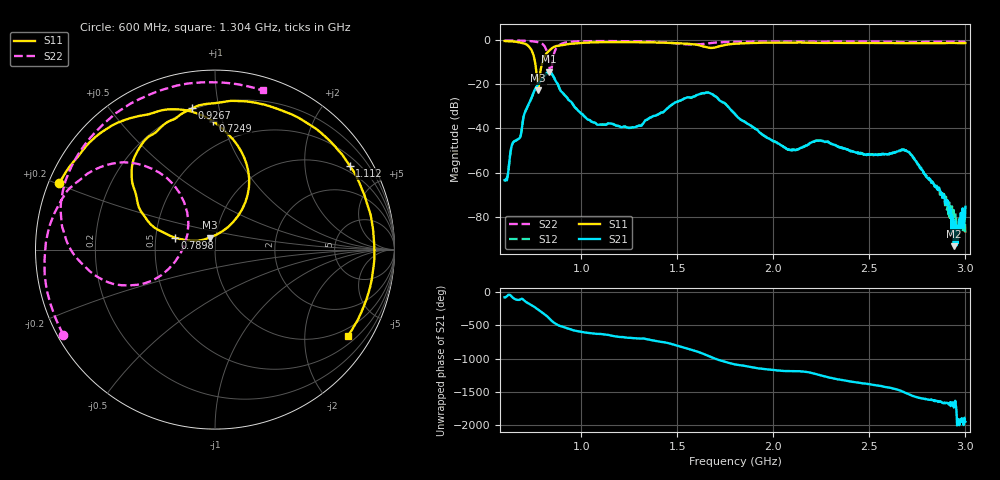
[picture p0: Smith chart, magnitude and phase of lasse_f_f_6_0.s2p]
#  HZ  S  RI  R  50.00
! Rohde & Schwarz ZVB8 2Ports - Version 2.81 - 1145.1010k08 SN: 100113
! Date: 2016-05-04 02:49:53
! Measurements: S11 S21 S12 S22
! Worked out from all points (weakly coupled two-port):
!   1000 points, 600 MHz to 3 GHz, reference 50 ohm
!   highest |S21| = -14.31 dB at 830.6 MHz (marker M1); lowest = -93.2 dB at 2.94 GHz (marker M2)
!   lowest |S11| = -22.8 dB at 775.4 MHz (marker M3), VSWR 1.16, Z = 47 + j6.37 ohm
!   |S11| at or under -10 dB: 758.3 MHz to 797.5 MHz (39.19 MHz wide, 5.04 % of centre)
!   |S22| runs from -15.3 to -0.3 dB; largest |S21 - S12| = 0.0021
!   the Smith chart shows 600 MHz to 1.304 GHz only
!   S11 on the Smith chart (normalised r, x): 600 MHz: 0.03, +0.20; 724.9 MHz: 0.32, +0.93; 789.8 MHz: 0.63, +0.09; 926.7 MHz: 0.19, +0.83; 1.112 GHz: 0.78, +3.33; 1.304 GHz: 0.74, -3.21
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6e8  -0.8665 0.3698  0.000116 -0.000669  7.61e-05 -0.000661  -0.8452 -0.4739
6.408408e8  -0.7175 0.5771  0.000763 -0.00443  0.000785 -0.00441  -0.911 -0.3183
6.768769e8  -0.4846 0.7284  -0.00283 -0.00522  -0.00276 -0.0052  -0.9453 -0.1717
7.249249e8  -0.0134 0.7166  -0.0347 -0.00431  -0.0346 -0.0049  -0.9402 0.0508
7.753754e8  -0.0262 0.0674  -0.00699 0.0997  -0.00825 0.1004  -0.8234 0.3272
7.897898e8  -0.2237 0.0665  0.0522 0.1108  0.0508 0.1106  -0.7287 0.408
8.306306e8  -0.4484 0.3326  0.1651 -0.099  0.1655 -0.0979  -0.1718 0.2634
8.618619e8  -0.4206 0.5677  -0.0424 -0.1204  -0.042 -0.1198  -0.5225 -0.1984
9.267267e8  -0.1264 0.7868  -0.0481 0.00494  -0.048 0.00463  -0.8594 0.2094
1.001201e9  0.2789 0.8067  -0.0113 0.0182  -0.0114 0.0181  -0.7507 0.5481
1.111712e9  0.7509 0.4669  0.000915 0.0122  0.000764 0.0122  -0.4352 0.8314
1.303904e9  0.7388 -0.4821  0.0107 0.00424  0.0107 0.00431  0.2648 0.8867
1.4e9  0.379 -0.7821  0.0195 -0.00708  0.0195 -0.00697  0.5795 0.6877
1.654655e9  -0.4937 -0.4657  -0.0426 0.0486  -0.0429 0.0483  0.8279 -0.00757
1.801201e9  -0.779 -0.2512  0.0207 -0.00241  0.0208 -0.00221  0.7317 -0.529
2.07988e9  -0.4735 0.727  -0.000914 -0.00323  -0.000857 -0.00322  -0.0961 -0.9089
2.2e9  0.0012 0.8561  -0.0034 -0.00349  -0.00341 -0.00347  -0.4338 -0.8044
2.421021e9  0.7605 0.3866  -2.14e-05 0.00292  -1.35e-05 0.00291  -0.8272 -0.3954
2.601201e9  0.7609 -0.373  0.00267 0.000327  0.00259 0.000324  -0.9075 0.0269
2.711712e9  0.4548 -0.7118  -0.000496 -0.0027  -0.000489 -0.00266  -0.8471 0.243
2.93994e9  -0.3671 -0.7674  8.26e-06 2.03e-05  -3.8e-05 5.36e-05  -0.606 0.6705
3e9  -0.5557 -0.6377  -0.000139 -9.65e-05  -3.5e-05 -2.71e-05  -0.494 0.7511
